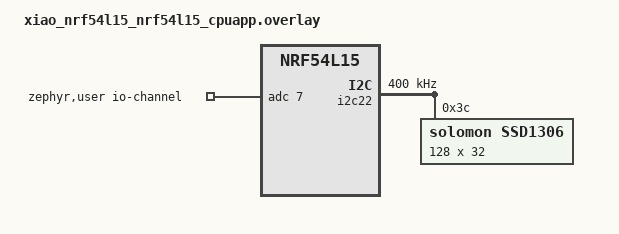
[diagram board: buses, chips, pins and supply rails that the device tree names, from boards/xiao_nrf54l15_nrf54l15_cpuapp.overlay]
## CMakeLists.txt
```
# PitchComm field-unit firmware.
# nRF Connect SDK (Zephyr) application for the Seeed XIAO nRF54L15.
#
# Use tools/build_firmware.ps1 for roster-derived role configuration, unit
# defines, display overlays and image-size checks. See firmware/README.md.

cmake_minimum_required(VERSION 3.20.0)

find_package(Zephyr REQUIRED HINTS $ENV{ZEPHYR_BASE})
project(pitchcomm)

target_include_directories(app PRIVATE include)

target_sources(app PRIVATE
  src/main.cpp
  src/thread_link.c
)

zephyr_sources_ifdef(CONFIG_PITCHCOMM_AUDIO
  src/audio_source.c
  src/storage.c
)

zephyr_sources_ifdef(CONFIG_PITCHCOMM_DISPLAY
  src/display.cpp
)

zephyr_sources_ifdef(CONFIG_PITCHCOMM_FIELD_BUTTON
  src/buttons.cpp
)

zephyr_sources_ifdef(CONFIG_PITCHCOMM_CATCHER_MENU
  src/buttons.cpp
)

zephyr_sources_ifdef(CONFIG_PITCHCOMM_BATTERY
  src/battery.cpp
)
```

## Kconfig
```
# PitchComm firmware application Kconfig.
# Role is selected per build; the build script passes the matching fragment.

mainmenu "PitchComm firmware"

choice PITCHCOMM_ROLE
	prompt "Unit role"
	default PITCHCOMM_ROLE_COACH
	help
	  Selects which unit this image is built for.

config PITCHCOMM_ROLE_COACH
	bool "Coach console"

config PITCHCOMM_ROLE_CATCHER
	bool "Catcher"

config PITCHCOMM_ROLE_PITCHER
	bool "Pitcher"

config PITCHCOMM_ROLE_SHORTSTOP
	bool "Shortstop"

config PITCHCOMM_ROLE_CENTERFIELD
	bool "Center field"

endchoice

# Field builds set PITCHCOMM_AUDIO, PITCHCOMM_DISPLAY, PITCHCOMM_CATCHER_MENU,
# PITCHCOMM_FIELD_BUTTON and PITCHCOMM_BATTERY explicitly from the generated
# unit conf (firmware/build/unit-confs/<key>.conf). The role choice above
# remains for the coach build.
config PITCHCOMM_AUDIO
	bool "LE Audio earbud output"
	default y if PITCHCOMM_ROLE_PITCHER

config PITCHCOMM_DISPLAY
	bool "128x32 OLED output"
	default y if PITCHCOMM_ROLE_CATCHER || PITCHCOMM_ROLE_SHORTSTOP || \
		     PITCHCOMM_ROLE_CENTERFIELD

config PITCHCOMM_CATCHER_MENU
	bool "Catcher five-button pitch menu"
	default y if PITCHCOMM_ROLE_CATCHER

config PITCHCOMM_CONSOLE
	bool "Line console over the debugger UART"
	default y

config PITCHCOMM_BATTERY
	bool "Internal VBAT sense"
	default y if PITCHCOMM_ROLE_CATCHER || PITCHCOMM_ROLE_PITCHER || \
		     PITCHCOMM_ROLE_SHORTSTOP || PITCHCOMM_ROLE_CENTERFIELD

config PITCHCOMM_FIELD_BUTTON
	bool "Pitcher / fielder recall button"
	default y if PITCHCOMM_ROLE_PITCHER || PITCHCOMM_ROLE_SHORTSTOP || \
		     PITCHCOMM_ROLE_CENTERFIELD

source "Kconfig.zephyr"
```

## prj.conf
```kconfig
# PitchComm firmware - baseline project config.
# Unit capability options are generated per build; shared fragments live in roles/; board options in boards/.

CONFIG_CPP=y
CONFIG_STD_CPP17=y

# 1 ms kernel ticks: the call engine cadence is milliseconds.
CONFIG_SYS_CLOCK_TICKS_PER_SEC=1000

# Console over the XIAO debugger UART at 115200.
CONFIG_LOG=y
CONFIG_PRINTK=y
CONFIG_SERIAL=y
CONFIG_CONSOLE=y
CONFIG_UART_CONSOLE=y
CONFIG_CONSOLE_SUBSYS=y
# VERIFY(console): console_getline() needs the optional CONSOLE_GETLINE choice;
# CONFIG_CONSOLE_SUBSYS alone leaves both getchar/getline unselected.
CONFIG_CONSOLE_GETLINE=y
CONFIG_SHELL=n

CONFIG_GPIO=y

# Factory device identity for the unprovisioned "eui" command.
# VERIFY(hwinfo): CONFIG_HWINFO=y selects CONFIG_HWINFO_NRF on the nRF54L15
# (hwinfo_nrf.c, NRF_FICR_HAS_INFO_DEVICE_ID path in NCS v3.4.0).
CONFIG_HWINFO=y

CONFIG_MAIN_STACK_SIZE=4096
CONFIG_HEAP_MEM_POOL_SIZE=32768

CONFIG_ASSERT=y
CONFIG_THREAD_NAME=y
```

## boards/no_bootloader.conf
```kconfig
# PitchComm no-MCUboot fallback config.
#
# Pass together with boards/no_bootloader.overlay and
# -DSB_CONFIG_BOOTLOADER_MCUBOOT=n; use tools/build_firmware.ps1 -NoBootloader.
#
# A normal build gets CONFIG_USE_DT_CODE_PARTITION=y through
# CONFIG_BOOTLOADER_MCUBOOT (select USE_DT_CODE_PARTITION if
# !MCUBOOT_BOOTLOADER_MODE_RAM_LOAD, modules/Kconfig.mcuboot in NCS v3.4.0).
# With MCUboot off nothing selects it, and with the board's
# zephyr,mapped-partition nodes the linker then has no code-partition region
# at all (CONFIG_FLASH_USES_MAPPED_PARTITION stays off, so
# FLASH_LOAD_OFFSET/FLASH_LOAD_SIZE do not exist): the image would link from
# 0x0 over the full 1524 KB RRAM and overlap its own LittleFS and settings
# partitions. Keep this line.
#
# VERIFY(no-bootloader): required by source inspection; not yet exercised by a
# build. Confirm CONFIG_USE_DT_CODE_PARTITION=y and
# CONFIG_FLASH_USES_MAPPED_PARTITION=y in .config.
CONFIG_USE_DT_CODE_PARTITION=y
```

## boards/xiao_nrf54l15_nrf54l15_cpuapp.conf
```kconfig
# XIAO nRF54L15 board options shared by every role.
# LE Audio Kconfig lives in roles/audio-unit.conf so non-audio roles do not
# compile the Bluetooth host.

CONFIG_FPU=y
CONFIG_SYSTEM_WORKQUEUE_STACK_SIZE=4096
```

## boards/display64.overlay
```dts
/*
 * PitchComm fielder watch: 128x64 SSD1306 overlay (target
 * xiao_nrf54l15/nrf54l15/cpuapp).
 *
 * Applied on top of boards/xiao_nrf54l15_nrf54l15_cpuapp.overlay for units
 * whose config/roster.json entry has display64 true. It overrides only the
 * panel geometry and the COM pin layout of the ssd1306@3c node; width,
 * address, bus, pull-ups, segment remap, scan direction, offsets, precharge
 * and the zephyr,display choice stay exactly as the base overlay set them.
 *
 * The common 128x64 module uses the alternative COM pin layout
 * (SSD1306_SET_PADS_HW_ALTERNATIVE, 0x12), while the 128x32 catcher panel
 * uses sequential COM pins (0x02). The base overlay sets com-sequential for
 * the 32-row panel, so this overlay deletes it; the Zephyr driver then writes
 * 0x12 (drivers/display/ssd1306.c: com-sequential selects SEQUENTIAL,
 * otherwise ALTERNATIVE).
 */

&ssd1306 {
	height = <64>;
	multiplex-ratio = <0x3f>; /* 64 rows - 1 */
	/delete-property/ com-sequential;
};
```

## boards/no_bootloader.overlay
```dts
/*
 * PitchComm no-MCUboot fallback partition layout (target
 * xiao_nrf54l15/nrf54l15/cpuapp).
 *
 * Use only with a sysbuild that disables MCUboot:
 *   west build -b xiao_nrf54l15/nrf54l15/cpuapp firmware -d firmware/build/<role>-nb -- \
 *     -DSB_CONFIG_BOOTLOADER_MCUBOOT=n \
 *     -DEXTRA_DTC_OVERLAY_FILE=boards/no_bootloader.overlay \
 *     -DEXTRA_CONF_FILE="<role fragments>;boards/no_bootloader.conf"
 *
 * Layout (nRF54L15 RRAM is 1524 KB total):
 *   slot0_partition    0x000000   776 KB   application (was mcuboot 62 KB + slot0 712 KB)
 *   slot1_partition    0x0C2000   712 KB   LittleFS audio clips
 *   storage_partition  0x174000    36 KB   settings + Bluetooth bonds
 *
 * slot1_partition and storage_partition keep their stock MCUboot offsets
 * (see dts/vendor/nordic/nrf54l15_cpuapp_partition.dtsi in NCS v3.4.0), so a
 * previously written audio image and saved bonds stay where the firmware
 * expects them.
 *
 * VERIFY(no-bootloader): untested, nothing here has seen a compiler. Confirm:
 *   - the overlay merges (old boot_partition and slot0_partition deleted, the
 *     new slot0 at 0x0 does not overlap slot1 or storage);
 *   - the image links at 0x0 with a 794624-byte limit; CONFIG_USE_DT_CODE_PARTITION=y
 *     in boards/no_bootloader.conf makes the linker use this partition
 *     (CONFIG_FLASH_USES_MAPPED_PARTITION; the cortex_m linker.ld takes
 *     ROM address/size from the chosen partition);
 *   - the map shows no section past 0x0C2000;
 *   - LittleFS still mounts slot1 and settings still mounts storage.
 */

/delete-node/ &boot_partition;
/delete-node/ &slot0_partition;

&cpuapp_rram {
	partitions {
		slot0_partition: partition@0 {
			compatible = "zephyr,mapped-partition";
			label = "image-0";
			reg = <0x0 DT_SIZE_K(776)>;
		};
	};
};
```

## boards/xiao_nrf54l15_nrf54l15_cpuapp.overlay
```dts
/*
 * XIAO nRF54L15 devicetree overlay (target xiao_nrf54l15/nrf54l15/cpuapp).
 *
 * Adds the parts the board DTS leaves to the application:
 *
 *   - the 128x32 SSD1306 OLED on i2c22 (SDA = P1.10 / D4, SCL = P1.11 / D5),
 *     used by the catcher / shortstop / center-field roles;
 *   - the internal VBAT sense channel (AIN7 = P1.14, through the P1.15
 *     load-switched divider).
 *
 * Nothing already present in the board DTS is removed or redefined. The board
 * file already enables i2c22, the adc node and the vbat_pwr regulator
 * (P1.15, active high). The console (uart20) and the 802.15.4 node
 * (chosen zephyr,ieee802154) are deliberately untouched.
 *
 * Required Kconfig for a role that uses the panel (belongs in the role
 * fragments, not here): CONFIG_DISPLAY=y and CONFIG_SSD1306=y.
 */

/ {
	chosen {
		/* Binds the in-tree SSD1306 display driver to this node. */
		zephyr,display = &ssd1306;
	};

	zephyr,user {
		/* io-channel index 7 = AIN7 = P1.14. Read by board::Battery. */
		io-channels = <&adc 7>;
	};
};

&i2c22 {
	status = "okay";
	/* The OLED module carries its own 4.7k pull-ups and 400 kHz is safe at
	 * 3.3 V (docs/wiring.md); the default would be 100 kHz. */
	clock-frequency = <400000>;

	ssd1306: ssd1306@3c {
		compatible = "solomon,ssd1306";
		reg = <0x3c>;
		status = "okay";
		width = <128>;
		height = <32>;
		segment-remap;
		com-invdir;
		com-sequential;
		/* VERIFY: the upstream solomon,ssd1306-common.yaml marks
		 * segment-offset, page-offset, display-offset, multiplex-ratio
		 * and prechargep as required; the values are the documented
		 * 128x32 SSD1306 defaults. */
		segment-offset = <0>;
		page-offset = <0>;
		display-offset = <0>;
		multiplex-ratio = <0x1f>; /* 32 rows - 1 */
		prechargep = <0xf1>;
	};
};
```

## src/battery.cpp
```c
/*
 * PitchComm battery sense for the XIAO nRF54L15 (Zephyr / NCS).
 *
 * The board senses VBAT internally on AIN7 = P1.14 through a load-switched
 * divider enabled by P1.15 (active high). docs/wiring.md keeps the load
 * switch on, so begin() raises it and never turns it back off.
 *
 * nRF54L15 SAADC: the internal reference is 900 mV, so with gain 1/4 the
 * full-scale pin input is 3600 mV. The board halves VBAT before the pin:
 *
 *   millivolts = raw * vref / (1/4) * 2 / 4096
 *              = raw * vref * 8 / 4096
 *
 * With the expected vref = 900 mV that gives
 * raw * 3600 / 4096 * 2, clamped to 6000. Eight samples are summed and
 * averaged in one integer division.
 * VERIFY: adc_ref_internal() must report 900 on the nRF54L15 SAADC; the
 * fallback keeps the previous behaviour if a driver reports 0.
 */

#include "board/battery.h"

#if defined(CONFIG_PITCHCOMM_BATTERY)

#if !defined(CONFIG_ADC)
#error "PitchComm battery: CONFIG_ADC=y is required for the nRF SAADC driver."
#endif

#include <cstdint>

#include <zephyr/device.h>
#include <zephyr/drivers/adc.h>
#include <zephyr/drivers/gpio.h>
#include <zephyr/kernel.h>
#include <zephyr/sys/util.h>

#if defined(CONFIG_ADC_CONFIGURABLE_INPUTS)
#include <zephyr/dt-bindings/adc/nrf-saadc.h>
#endif

namespace board {
namespace {

/* P1.15 enables the internal VBAT divider load switch (active high). */
constexpr uint8_t kDividerEnablePin = 15;

/* AIN7 = P1.14, through the internal divider (scale x2). */
const struct adc_dt_spec gVbat = ADC_DT_SPEC_GET(DT_PATH(zephyr_user));
const struct device* const gGpio1 = DEVICE_DT_GET(DT_NODELABEL(gpio1));

constexpr uint32_t kSampleIntervalMs = 500;
constexpr uint32_t kSamples = 8;
constexpr uint32_t kFallbackVrefMv = 900; /* VERIFY: nRF54L15 internal ref */
constexpr uint32_t kMaxMillivolts = 6000;

bool gAdcReady = false;
bool gDividerOn = false;

inline uint32_t elapsed(uint32_t now, uint32_t then) { return now - then; }

void enableDivider() {
  if (gDividerOn || !device_is_ready(gGpio1)) {
    return;
  }
  /* VERIFY: P1.15 is active high and is also claimed by the board's
   * vbat_pwr regulator (regulator-boot-on), so this is normally a no-op.
   * It is intentionally never disabled. */
  if (gpio_pin_configure(gGpio1, kDividerEnablePin, GPIO_OUTPUT_ACTIVE) == 0) {
    gpio_pin_set(gGpio1, kDividerEnablePin, 1);
    gDividerOn = true;
  }
}

}  // namespace

void Battery::begin() {
  enableDivider();
  if (!adc_is_ready_dt(&gVbat)) {
    return;
  }
  struct adc_channel_cfg cfg{};
  cfg.gain = ADC_GAIN_1_4;
  cfg.reference = ADC_REF_INTERNAL;
  cfg.acquisition_time = ADC_ACQ_TIME_DEFAULT;
  cfg.channel_id = gVbat.channel_id;
  cfg.differential = 0;
#if defined(CONFIG_ADC_CONFIGURABLE_INPUTS)
  /* VERIFY: the nRF SAADC driver selects ADC_CONFIGURABLE_INPUTS, so the
   * physical input must be named explicitly; AIN7 is P1.14. */
  cfg.input_positive = NRF_SAADC_AIN7;
#endif
  if (adc_channel_setup(gVbat.dev, &cfg) != 0) {
    return;
  }
  gAdcReady = true;
}

void Battery::tick(uint32_t now) {
  if (!gAdcReady) {
    return;
  }
  if (sampled_ && elapsed(now, sampledAt_) < kSampleIntervalMs) {
    return;
  }

  int32_t sum = 0;
  for (uint32_t i = 0; i < kSamples; ++i) {
    int16_t raw = 0;
    struct adc_sequence sequence{};
    sequence.channels = BIT(gVbat.channel_id);
    sequence.buffer = &raw;
    sequence.buffer_size = sizeof(raw);
    sequence.resolution = 12;
    if (adc_read_dt(&gVbat, &sequence) != 0) {
      return; /* keep the previous reading */
    }
    if (raw < 0) {
      raw = 0; /* single-ended readings cannot be negative */
    }
    sum += raw;
  }

  uint32_t vrefMv = adc_ref_internal(gVbat.dev);
  if (vrefMv == 0) {
    vrefMv = kFallbackVrefMv;
  }

  /* Per sample: raw * vref / (gain = 1/4) / 4096, then x2 for the divider.
   * Averaged over 8 samples: (sum/8) * vref * 8 / 4096 = sum * vref / 4096. */
  uint32_t millivolts = static_cast<uint32_t>(sum) * vrefMv / 4096u;
  if (millivolts > kMaxMillivolts) {
    millivolts = kMaxMillivolts;
  }
  millivolts_ = millivolts;
  sampledAt_ = now;
  sampled_ = true;
}

uint32_t Battery::millivolts() const { return millivolts_; }

/* A cell in this window is low but still powers the rail. */
bool Battery::low() const { return millivolts_ >= 2800 && millivolts_ < 3500; }

/* Battery window in which the LE Audio rail is trusted to stay up. */
bool Battery::audioPower() const {
  return millivolts_ >= 3100 && millivolts_ <= 4400;
}

} // namespace board

#endif /* CONFIG_PITCHCOMM_BATTERY */
```

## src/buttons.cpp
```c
/*
 * PitchComm buttons for the XIAO nRF54L15 (Zephyr / NCS).
 *
 * Field button: one active-low recall button on D1 = P1.05 with an internal
 * pull-up. 30 ms debounce, 700 ms long press. Released reads raw 1;
 * pressed (pin to GND) reads raw 0.
 *
 * Catcher keypad: four numbered calls on D0..D3 = P1.04..P1.07 plus Back on
 * D13 = P2.10, all pin-to-GND with internal pull-ups. Events are filtered by
 * the shared pc::CatcherButtons model (35 ms startup/release block, chord
 * rejection, event numbers 1..4 on a numbered release, 5 on a Back short
 * release and 6 on a Back long hold).
 */

#include "board/buttons.h"

#if defined(CONFIG_PITCHCOMM_FIELD_BUTTON) || defined(CONFIG_PITCHCOMM_CATCHER_MENU)

#include <cstdint>

#include <zephyr/device.h>
#include <zephyr/drivers/gpio.h>

#if defined(CONFIG_PITCHCOMM_CATCHER_MENU)
#include "pc/newcatcher_menu.h"
#endif

namespace board {
namespace {

const struct device* const gGpio1 = DEVICE_DT_GET(DT_NODELABEL(gpio1));

inline uint32_t elapsed(uint32_t now, uint32_t then) { return now - then; }

}  // namespace

#if defined(CONFIG_PITCHCOMM_FIELD_BUTTON)

namespace {

/* Pitcher / fielder recall: D1 = P1.05, pin to GND. */
constexpr uint8_t kFieldButtonPin = 5;

bool gButtonReady = false;
bool gRawDown = false;
bool gHeld = false;
bool gLongReported = false;
uint32_t gChanged = 0;
uint32_t gPressedAt = 0;

}  // namespace

void Button::begin() {
  gButtonReady = false;
  gRawDown = false;
  gHeld = false;
  gLongReported = false;
  gChanged = 0;
  gPressedAt = 0;
  if (!device_is_ready(gGpio1)) {
    return;
  }
  if (gpio_pin_configure(gGpio1, kFieldButtonPin,
                         GPIO_INPUT | GPIO_PULL_UP) != 0) {
    return;
  }
  gButtonReady = true;
}

Button::Event Button::tick(uint32_t now) {
  if (!gButtonReady) {
    return Event::None;
  }
  const bool down = gpio_pin_get_raw(gGpio1, kFieldButtonPin) == 0;
  if (down != gRawDown) {
    gRawDown = down;
    gChanged = now;
  }
  if (gRawDown != gHeld && elapsed(now, gChanged) >= 30) {
    gHeld = gRawDown;
    if (gHeld) {
      gPressedAt = now;
      gLongReported = false;
    } else if (!gLongReported) {
      return Event::Press;
    }
  }
  if (gHeld && !gLongReported && elapsed(now, gPressedAt) >= 700) {
    gLongReported = true;
    return Event::LongPress;
  }
  return Event::None;
}

#endif /* CONFIG_PITCHCOMM_FIELD_BUTTON */

#if defined(CONFIG_PITCHCOMM_CATCHER_MENU)

namespace {

const struct device* const gGpio2 = DEVICE_DT_GET(DT_NODELABEL(gpio2));

/* Catcher keypad: D0..D3 = P1.04..P1.07 (calls 1..4), D13 = P2.10 (Back). */
constexpr uint8_t kCallPins[4] = {4, 5, 6, 7};
constexpr uint8_t kBackPin = 10;

pc::CatcherButtons gFilter;
uint32_t gScanAt = 0;

}  // namespace

bool CatcherControls::begin() {
  present_ = false;
  if (!device_is_ready(gGpio1) || !device_is_ready(gGpio2)) {
    return false;
  }
  bool ok = true;
  for (uint8_t pin : kCallPins) {
    if (gpio_pin_configure(gGpio1, pin, GPIO_INPUT | GPIO_PULL_UP) != 0) {
      ok = false;
    }
  }
  if (gpio_pin_configure(gGpio2, kBackPin, GPIO_INPUT | GPIO_PULL_UP) != 0) {
    ok = false;
  }
  present_ = ok;
  return ok;
}

bool CatcherControls::available() const { return present_; }

unsigned CatcherControls::tick(uint32_t now) {
  if (!present_) {
    return 0;
  }
  if (elapsed(now, gScanAt) < 10) {
    return 0;
  }
  gScanAt = now;

  uint8_t mask = 0;
  for (uint8_t i = 0; i < 4; ++i) {
    if (gpio_pin_get_raw(gGpio1, kCallPins[i]) == 0) {
      mask |= static_cast<uint8_t>(1u << i);
    }
  }
  if (gpio_pin_get_raw(gGpio2, kBackPin) == 0) {
    mask |= 0x10;
  }
  return gFilter.tick(mask, true, now);
}

#endif /* CONFIG_PITCHCOMM_CATCHER_MENU */

} // namespace board

#endif /* CONFIG_PITCHCOMM_FIELD_BUTTON || CONFIG_PITCHCOMM_CATCHER_MENU */
```

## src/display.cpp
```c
/*
 * PitchComm - SSD1306 OLED for the XIAO nRF54L15 (Zephyr / NCS).
 *
 * The panel is the 128x32 0.91" catcher module or the 128x64 fielder watch
 * module at address 0x3C on i2c22 (SDA = P1.10 / D4, SCL = P1.11 / D5), see
 * docs/wiring.md. The board overlay selects the geometry: the base overlay is
 * 128x32 and boards/display64.overlay raises a watch unit to 128x64.
 *
 * Primary backend: the in-tree Zephyr SSD1306 display driver
 * (compatible = "solomon,ssd1306", CONFIG_SSD1306). Fallback backend: raw
 * I2C page writes, used only if CONFIG_SSD1306 is not enabled.
 *
 * Rendering goes into a page-major frame buffer (kWidth * kHeight / 8 bytes:
 * 512 for a 32-row panel, 1024 for a 64-row panel; bit 0 of each byte is the
 * top row of its 8-pixel page, matching SCREEN_INFO_MONO_VTILED), then the
 * whole frame is pushed in one pass.
 *
 * Timeouts: Zephyr's synchronous I2C and display APIs take no per-transfer
 * timeout argument. The full-frame transfer below is a bounded, single
 * transaction series: no retries and no bus recovery loops are performed
 * here, and the SSD1306 driver itself only issues direct i2c_write_dt()
 * calls (it also returns on the first error).
 *
 * Threading: the application UI thread owns display operations. One static
 * mutex also serializes begin/menu/strip/probe/wake/sleep and the frame buffer.
 * The engine only queues display requests; it never takes this panel lock.
 * Public calls wait at most
 * 50 ms for the panel and report failure on timeout; the mutex is never
 * taken recursively.
 */

#include "board/display.h"

#if defined(CONFIG_PITCHCOMM_DISPLAY)

#if !defined(CONFIG_SSD1306) && !defined(CONFIG_I2C)
#error "PitchComm display: enable CONFIG_DISPLAY=y and CONFIG_SSD1306=y (or CONFIG_I2C=y for the raw fallback)."
#endif

#include <cstring>

#include <zephyr/device.h>
#include <zephyr/drivers/display.h>
#include <zephyr/drivers/i2c.h>
#include <zephyr/kernel.h>
#include <zephyr/sys/util.h>

namespace board {
namespace {

/* Panel geometry comes from the overlay: the base ssd1306 node is 128x32 and
 * boards/display64.overlay raises it to 128x64 for a fielder watch. */
constexpr uint16_t kWidth = DT_PROP(DT_NODELABEL(ssd1306), width);
constexpr uint16_t kHeight = DT_PROP(DT_NODELABEL(ssd1306), height);
constexpr uint16_t kFrameBytes = kWidth * kHeight / 8; /* 512 or 1024 bytes */

/* Both text layouts are authored for a 32-row panel; a 64-row panel centers
 * the same content in the middle instead of the top. */
constexpr uint16_t kLayoutOffset = (kHeight - 32) / 2;

constexpr uint8_t kGlyphColumns = 5;
constexpr uint8_t kGlyphRows = 7;
constexpr uint8_t kGlyphAdvance = 6;    /* 5x7 cell + 1 blank column, 1x text */
constexpr uint8_t kLabelAdvance = 12;   /* 2x text uses 12 px cells */
constexpr uint8_t kLabelAdvance11 = 11; /* 11-char labels use an 11 px advance */

/* The panel address is fixed by the overlay: ssd1306@3c. */
static_assert(DT_REG_ADDR(DT_NODELABEL(ssd1306)) == 0x3c,
              "PitchComm display must be the SSD1306 at I2C address 0x3C");

/*
 * 5x7 ASCII glyphs, one byte per column, bit 0 = top row (the classic
 * Adafruit GFX 5x7 layout). Data ported from the Adafruit GFX glcdfont.c
 * font (Copyright (c) 2012 Adafruit Industries, BSD license,
 * https://github.com/adafruit/Adafruit-GFX-Library/blob/master/license.txt).
 * Only the printable range 0x20..0x7E (95 glyphs) is kept here.
 */
const uint8_t kFont[95][kGlyphColumns] = {
  {0x00,0x00,0x00,0x00,0x00}, /* ' ' */
  {0x00,0x00,0x5f,0x00,0x00}, /* '!' */
  {0x00,0x07,0x00,0x07,0x00}, /* '"' */
  {0x14,0x7f,0x14,0x7f,0x14}, /* '#' */
  {0x24,0x2a,0x7f,0x2a,0x12}, /* '$' */
  {0x23,0x13,0x08,0x64,0x62}, /* '%' */
  {0x36,0x49,0x56,0x20,0x50}, /* '&' */
  {0x00,0x08,0x07,0x03,0x00}, /* '\'' */
  {0x00,0x1c,0x22,0x41,0x00}, /* '(' */
  {0x00,0x41,0x22,0x1c,0x00}, /* ')' */
  {0x2a,0x1c,0x7f,0x1c,0x2a}, /* '*' */
  {0x08,0x08,0x3e,0x08,0x08}, /* '+' */
  {0x00,0x80,0x70,0x30,0x00}, /* ',' */
  {0x08,0x08,0x08,0x08,0x08}, /* '-' */
  {0x00,0x00,0x60,0x60,0x00}, /* '.' */
  {0x20,0x10,0x08,0x04,0x02}, /* '/' */
  {0x3e,0x51,0x49,0x45,0x3e}, /* '0' */
  {0x00,0x42,0x7f,0x40,0x00}, /* '1' */
  {0x72,0x49,0x49,0x49,0x46}, /* '2' */
  {0x21,0x41,0x49,0x4d,0x33}, /* '3' */
  {0x18,0x14,0x12,0x7f,0x10}, /* '4' */
  {0x27,0x45,0x45,0x45,0x39}, /* '5' */
  {0x3c,0x4a,0x49,0x49,0x31}, /* '6' */
  {0x41,0x21,0x11,0x09,0x07}, /* '7' */
  {0x36,0x49,0x49,0x49,0x36}, /* '8' */
  {0x46,0x49,0x49,0x29,0x1e}, /* '9' */
  {0x00,0x00,0x14,0x00,0x00}, /* ':' */
  {0x00,0x40,0x34,0x00,0x00}, /* ';' */
  {0x00,0x08,0x14,0x22,0x41}, /* '<' */
  {0x14,0x14,0x14,0x14,0x14}, /* '=' */
  {0x00,0x41,0x22,0x14,0x08}, /* '>' */
  {0x02,0x01,0x59,0x09,0x06}, /* '?' */
  {0x3e,0x41,0x5d,0x59,0x4e}, /* '@' */
  {0x7c,0x12,0x11,0x12,0x7c}, /* 'A' */
  {0x7f,0x49,0x49,0x49,0x36}, /* 'B' */
  {0x3e,0x41,0x41,0x41,0x22}, /* 'C' */
  {0x7f,0x41,0x41,0x41,0x3e}, /* 'D' */
  {0x7f,0x49,0x49,0x49,0x41}, /* 'E' */
  {0x7f,0x09,0x09,0x09,0x01}, /* 'F' */
  {0x3e,0x41,0x41,0x51,0x73}, /* 'G' */
  {0x7f,0x08,0x08,0x08,0x7f}, /* 'H' */
  {0x00,0x41,0x7f,0x41,0x00}, /* 'I' */
  {0x20,0x40,0x41,0x3f,0x01}, /* 'J' */
  {0x7f,0x08,0x14,0x22,0x41}, /* 'K' */
  {0x7f,0x40,0x40,0x40,0x40}, /* 'L' */
  {0x7f,0x02,0x1c,0x02,0x7f}, /* 'M' */
  {0x7f,0x04,0x08,0x10,0x7f}, /* 'N' */
  {0x3e,0x41,0x41,0x41,0x3e}, /* 'O' */
  {0x7f,0x09,0x09,0x09,0x06}, /* 'P' */
  {0x3e,0x41,0x51,0x21,0x5e}, /* 'Q' */
  {0x7f,0x09,0x19,0x29,0x46}, /* 'R' */
  {0x26,0x49,0x49,0x49,0x32}, /* 'S' */
  {0x03,0x01,0x7f,0x01,0x03}, /* 'T' */
  {0x3f,0x40,0x40,0x40,0x3f}, /* 'U' */
  {0x1f,0x20,0x40,0x20,0x1f}, /* 'V' */
  {0x3f,0x40,0x38,0x40,0x3f}, /* 'W' */
  {0x63,0x14,0x08,0x14,0x63}, /* 'X' */
  {0x03,0x04,0x78,0x04,0x03}, /* 'Y' */
  {0x61,0x59,0x49,0x4d,0x43}, /* 'Z' */
  {0x00,0x7f,0x41,0x41,0x41}, /* '[' */
  {0x02,0x04,0x08,0x10,0x20}, /* '\\' */
  {0x00,0x41,0x41,0x41,0x7f}, /* ']' */
  {0x04,0x02,0x01,0x02,0x04}, /* '^' */
  {0x40,0x40,0x40,0x40,0x40}, /* '_' */
  {0x00,0x03,0x07,0x08,0x00}, /* '`' */
  {0x20,0x54,0x54,0x78,0x40}, /* 'a' */
  {0x7f,0x28,0x44,0x44,0x38}, /* 'b' */
  {0x38,0x44,0x44,0x44,0x28}, /* 'c' */
  {0x38,0x44,0x44,0x28,0x7f}, /* 'd' */
  {0x38,0x54,0x54,0x54,0x18}, /* 'e' */
  {0x00,0x08,0x7e,0x09,0x02}, /* 'f' */
  {0x18,0xa4,0xa4,0x9c,0x78}, /* 'g' */
  {0x7f,0x08,0x04,0x04,0x78}, /* 'h' */
  {0x00,0x44,0x7d,0x40,0x00}, /* 'i' */
  {0x20,0x40,0x40,0x3d,0x00}, /* 'j' */
  {0x7f,0x10,0x28,0x44,0x00}, /* 'k' */
  {0x00,0x41,0x7f,0x40,0x00}, /* 'l' */
  {0x7c,0x04,0x78,0x04,0x78}, /* 'm' */
  {0x7c,0x08,0x04,0x04,0x78}, /* 'n' */
  {0x38,0x44,0x44,0x44,0x38}, /* 'o' */
  {0xfc,0x18,0x24,0x24,0x18}, /* 'p' */
  {0x18,0x24,0x24,0x18,0xfc}, /* 'q' */
  {0x7c,0x08,0x04,0x04,0x08}, /* 'r' */
  {0x48,0x54,0x54,0x54,0x24}, /* 's' */
  {0x04,0x04,0x3f,0x44,0x24}, /* 't' */
  {0x3c,0x40,0x40,0x20,0x7c}, /* 'u' */
  {0x1c,0x20,0x40,0x20,0x1c}, /* 'v' */
  {0x3c,0x40,0x30,0x40,0x3c}, /* 'w' */
  {0x44,0x28,0x10,0x28,0x44}, /* 'x' */
  {0x4c,0x90,0x90,0x90,0x7c}, /* 'y' */
  {0x44,0x64,0x54,0x4c,0x44}, /* 'z' */
  {0x00,0x08,0x36,0x41,0x00}, /* '{' */
  {0x00,0x00,0x77,0x00,0x00}, /* '|' */
  {0x00,0x41,0x36,0x08,0x00}, /* '}' */
  {0x02,0x01,0x02,0x04,0x02}, /* '~' */
};

uint8_t gFrame[kFrameBytes];

inline void setPixel(uint16_t x, uint16_t y) {
  if (x >= kWidth || y >= kHeight) {
    return;
  }
  gFrame[(y / 8) * kWidth + x] |= static_cast<uint8_t>(1u << (y % 8));
}

void clearFrame() { std::memset(gFrame, 0, sizeof(gFrame)); }

void drawGlyph(uint16_t x, uint16_t y, char c, uint8_t scale) {
  if (c < 0x20 || c > 0x7e) {
    c = '?';
  }
  const uint8_t* glyph = kFont[static_cast<uint8_t>(c) - 0x20];
  for (uint8_t column = 0; column < kGlyphColumns; ++column) {
    const uint8_t bits = glyph[column];
    for (uint8_t row = 0; row < kGlyphRows; ++row) {
      if ((bits & (1u << row)) == 0) {
        continue;
      }
      if (scale == 2) {
        const uint16_t px = x + column * 2;
        const uint16_t py = y + row * 2;
        setPixel(px, py);
        setPixel(px + 1, py);
        setPixel(px, py + 1);
        setPixel(px + 1, py + 1);
      } else {
        setPixel(x + column, y + row);
      }
    }
  }
}

void drawText(uint16_t x, uint16_t y, const char* text, uint8_t scale,
              uint8_t advance) {
  if (text == nullptr) {
    return;
  }
  const uint16_t glyphWidth = (scale == 2) ? kGlyphColumns * 2 : kGlyphColumns;
  for (; *text != '\0'; ++text) {
    if (x + glyphWidth > kWidth) {
      break; /* clip at the right edge; callers keep the text in range */
    }
    drawGlyph(x, y, *text, scale);
    x += advance;
  }
}

const struct i2c_dt_spec gPanelI2c = I2C_DT_SPEC_GET(DT_NODELABEL(ssd1306));

/*
 * Serializes all panel traffic and the shared frame buffer. The application
 * routes calls and console diagnostics to the same UI owner.
 * One full frame is about 13 ms of bus time at the configured 400 kHz, so a
 * 50 ms wait is enough for the current holder to finish.
 */
K_MUTEX_DEFINE(gLock);

/* RAII helper so every early return releases the panel mutex. */
struct Guard {
  explicit Guard(k_timeout_t timeout)
      : held(k_mutex_lock(&gLock, timeout) == 0) {}
  ~Guard() {
    if (held) {
      k_mutex_unlock(&gLock);
    }
  }
  bool held;
};

/*
 * One-byte bus probe: SSD1306 panels are write-only on I2C. A one-byte write
 * of the command-stream control byte (Co = 0, D/C# = 0) is ACKed by a present
 * panel and NACKed when it is absent or unpowered. The address argument lets
 * the console `scan` diagnostic walk other addresses on the same bus.
 * Callers hold gLock; probeBus itself never takes it.
 */
bool probeBus(uint8_t address) {
  struct i2c_dt_spec spec = gPanelI2c;
  spec.addr = address;
  uint8_t control = 0x00;
  return i2c_write_dt(&spec, &control, 1) == 0;
}

#if defined(CONFIG_SSD1306)

const struct device* const gPanel = DEVICE_DT_GET(DT_NODELABEL(ssd1306));

bool panelOn() { return display_blanking_off(gPanel) == 0; }
bool panelOff() { return display_blanking_on(gPanel) == 0; }

bool flush() {
  struct display_buffer_descriptor desc{};
  desc.buf_size = sizeof(gFrame);
  desc.width = kWidth;
  desc.height = kHeight;
  desc.pitch = kWidth; /* the SSD1306 driver requires pitch == width */
  desc.frame_incomplete = false;
  /* The driver requires y and height to be page-aligned; a full frame is. */
  return display_write(gPanel, 0, 0, &desc, gFrame) == 0;
}

#else /* Raw SSD1306 I2C fallback, only if the in-tree driver is unavailable. */

/* SSD1306 power-up sequence for the panel the overlay describes; values
 * follow the datasheet and the settings requested in the overlay (segment
 * remap, reversed COM scan, precharge 0xF1). */
bool rawInit() {
  /* The in-tree driver picks the COM pin layout from com-sequential: the
   * 128x32 panel uses sequential (0x02) and the standard 128x64 module uses
   * the alternative layout (0x12). board/display64.overlay deletes
   * com-sequential, so follow the height here. */
  constexpr uint8_t kComPins = (kHeight > 32) ? 0x12 : 0x02;
  static const uint8_t kInit[] = {
      0xae,             /* display off while configuring */
      0xd5, 0x80,       /* clock divide ratio / oscillator frequency */
      0xa8, static_cast<uint8_t>(kHeight - 1), /* multiplex ratio: rows - 1 */
      0xd3, 0x00,       /* display offset 0 */
      0x40,             /* display start line 0 */
      0x8d, 0x14,       /* charge pump enabled */
      0x20, 0x02,       /* page addressing mode */
      0xa1,             /* segment remap */
      0xc8,             /* COM output scan direction reversed */
      0xda, kComPins,   /* COM pins: 32-row sequential, 64-row alternative */
      0x81, 0x8f,       /* contrast */
      0xd9, 0xf1,       /* pre-charge period */
      0xdb, 0x40,       /* VCOMH deselect level */
      0xa4,             /* display follows GDDRAM */
      0xa6,             /* normal (not inverted) display */
      0xaf,             /* display on */
  };
  uint8_t buffer[1 + sizeof(kInit)];
  buffer[0] = 0x00; /* Co = 0, D/C# = 0: all following bytes are commands */
  std::memcpy(&buffer[1], kInit, sizeof(kInit));
  return i2c_write_dt(&gPanelI2c, buffer, sizeof(buffer)) == 0;
}

bool rawFlush() {
  uint8_t data[1 + kWidth];
  data[0] = 0x40; /* Co = 0, D/C# = 1: all following bytes are GDDRAM data */
  for (uint8_t page = 0; page < kHeight / 8; ++page) {
    const uint8_t position[4] = {
        0x00, static_cast<uint8_t>(0xb0 | page), 0x00, 0x10};
    if (i2c_write_dt(&gPanelI2c, position, sizeof(position)) != 0) {
      return false;
    }
    std::memcpy(&data[1], &gFrame[page * kWidth], kWidth);
    if (i2c_write_dt(&gPanelI2c, data, sizeof(data)) != 0) {
      return false;
    }
  }
  return true;
}

bool panelOn() {
  const uint8_t command[2] = {0x00, 0xaf}; /* display on */
  return i2c_write_dt(&gPanelI2c, command, sizeof(command)) == 0;
}

bool panelOff() {
  const uint8_t command[2] = {0x00, 0xae}; /* display off */
  return i2c_write_dt(&gPanelI2c, command, sizeof(command)) == 0;
}

bool flush() { return rawFlush(); }

#endif /* CONFIG_SSD1306 */

}  // namespace

bool Display::begin() {
  const Guard lock(K_MSEC(50));
  if (!lock.held) {
    return false;
  }
  if (ready_) {
    return true;
  }
  if (!probeBus(gPanelI2c.addr)) {
    return false;
  }
#if defined(CONFIG_SSD1306)
  if (!device_is_ready(gPanel)) {
    return false;
  }
  struct display_capabilities caps{};
  display_get_capabilities(gPanel, &caps);
  if (caps.x_resolution != kWidth || caps.y_resolution != kHeight) {
    return false; /* the overlay geometry must match what this build compiled */
  }
#else
  if (!rawInit()) {
    return false;
  }
#endif
  clearFrame();
  if (!flush()) {
    return false;
  }
  sleeping_ = false;
  ready_ = true;
  return true;
}

bool Display::probe(uint8_t address) {
  /* Works whether or not begin() has run: a disconnected panel must fail. */
  const Guard lock(K_MSEC(50));
  if (!lock.held) {
    return false; /* a transfer is in flight; report not found */
  }
  return probeBus(address);
}

bool Display::available() const {
  const Guard lock(K_MSEC(50));
  if (!lock.held) {
    return false; /* a display update is in flight; report unavailable */
  }
  return ready_;
}

void Display::wake() {
  const Guard lock(K_MSEC(50));
  if (!lock.held || !ready_) {
    return;
  }
  panelOn();
  sleeping_ = false;
}

void Display::sleep() {
  const Guard lock(K_MSEC(50));
  if (!lock.held || !ready_ || sleeping_) {
    return;
  }
  panelOff();
  sleeping_ = true;
}

bool Display::sleeping() const {
  const Guard lock(K_MSEC(50));
  if (!lock.held) {
    return false;
  }
  return sleeping_;
}

bool Display::menu(const pc::CatcherMenu::Frame& frame) {
  const Guard lock(K_MSEC(50));
  if (!lock.held || !ready_ || sleeping_) {
    return false;
  }
  clearFrame();
  drawText(0, kLayoutOffset, frame.header, 1, kGlyphAdvance);
  drawText(0, kLayoutOffset + 8, frame.footer, 1, kGlyphAdvance);
  // Four columns correspond directly to the physical left-to-right keys.
  for (unsigned i=0;i<4;++i) {
    char number[3]={char('1'+i),frame.selected==i+1 ? '>' : ' ',0};
    drawText(i*32+10,kLayoutOffset+16,number,1,kGlyphAdvance);
    const auto width=std::strlen(frame.keys[i])*kGlyphAdvance;
    drawText(i*32+(32-width)/2,kLayoutOffset+24,frame.keys[i],1,kGlyphAdvance);
  }
  return flush();
}

bool Display::strip(const char* label, const char* status) {
  const Guard lock(K_MSEC(50));
  if (!lock.held || !ready_ || sleeping_ || label == nullptr ||
      status == nullptr) {
    return false;
  }
  const size_t labelLength = std::strlen(label);
  /* Reject oversized caller text instead of silently clipping a call
   * or hiding its safety status. */
  if (labelLength > 11 || std::strlen(status) > 10) {
    return false;
  }
  clearFrame();
  if (labelLength == 11) {
    /* SHADE RIGHT needs eleven unchanged 2x glyphs. Keep the glyphs and
     * reduce only the blank inter-character advance from 12 to 11 px. */
    uint16_t x = 0;
    for (const char* p = label; *p != '\0'; ++p) {
      drawGlyph(x, kLayoutOffset, *p, 2);
      x += kLabelAdvance11;
    }
  } else {
    drawText(0, kLayoutOffset, label, 2, kLabelAdvance);
  }
  drawText(0, kLayoutOffset + 16, status, 1, kGlyphAdvance);
  return flush();
}

} // namespace board

#endif /* CONFIG_PITCHCOMM_DISPLAY */
```

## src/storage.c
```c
/*
 * PitchComm clip storage.
 *
 * LittleFS is mounted on the unused MCUboot secondary slot
 * (FIXED_PARTITION_ID(slot1_partition), 712 KB on the XIAO nRF54L15), which is
 * the only large, writable region this application owns.  The file system is
 * populated out of band (USB mass-storage image / tools), not by this
 * firmware.
 *
 * Catalog paths look like "/audio/p01.wav".  Two on-disk formats are
 * accepted:
 *
 *   - RIFF/WAVE, PCM, mono, 16 kHz, 16 bit, data chunk <= 5 s. Unknown chunks are
 *     skipped, fmt must be PCM 1/1/16000/32000/2/16, data even and short
 *     enough.
 *   - "ULW1" + uint32 little-endian sample count + G.711 mu-law bytes at
 *     8 kHz (the compact deployment format).
 *
 * Clips are streamed: pc_clip_open() parses the header and keeps only a
 * fixed-size state; pc_clip_read() pulls small chunks straight into the
 * caller's buffer (mu-law is decoded one 256-byte chunk at a time).  Memory
 * use is independent of clip length.
 *
 * Thread notes: pc_storage_mount() is called once from the boot thread;
 * pc_clip_* are called from the audio playback thread only.  A handle must
 * not be shared between threads.
 */
#include <errno.h>
#include <stdbool.h>
#include <stddef.h>
#include <stdint.h>
#include <string.h>

#include <zephyr/fs/fs.h>
#include <zephyr/fs/littlefs.h>
#include <zephyr/kernel.h>
#include <zephyr/logging/log.h>
#include <zephyr/storage/flash_map.h>
#include <zephyr/sys/byteorder.h>
#include <zephyr/sys/util.h>

#include <app/storage.h>

LOG_MODULE_REGISTER(pc_storage, LOG_LEVEL_INF);

#define PC_STORAGE_MNT   "/audio"
#define PC_MANIFEST      "/audio/manifest.txt"
#define PC_PATH_MAX      48
#define PC_MANIFEST_MAX  32

/* At most 5 s of 16 kHz mono PCM16. */
#define PC_WAV_MAX_DATA      (32000u * 5u)
#define PC_ULW_MAX_SAMPLES   (32000u * 5u)

/* Mu-law bytes decoded per fs_read() during pc_clip_read(). */
#define PC_ULAW_CHUNK        256U

static const char pc_ulw_magic[4] = { 'U', 'L', 'W', '1' };

FS_LITTLEFS_DECLARE_DEFAULT_CONFIG(pc_lfs_cfg);

static struct fs_mount_t pc_lfs_mount = {
	.type = FS_LITTLEFS,
	.fs_data = &pc_lfs_cfg,
	/* VERIFY: NCS v3.4.0 struct fs_mount_t takes the flash area id through
	 * the void *storage_dev field; there is no fa_id field on fs_littlefs.
	 * The documented pattern is the cast below.
	 */
	.storage_dev = (void *)FIXED_PARTITION_ID(slot1_partition),
	.mnt_point = PC_STORAGE_MNT,
};

static bool mounted;
static bool manifest_ok;
static uint32_t dictionary;
static int16_t mulaw_table[256];

enum pc_clip_format {
	PC_CLIP_WAV = 1,
	PC_CLIP_ULW = 2,
};

/* One open clip.  Fixed size: never scaled by the clip length. */
struct pc_clip {
	struct fs_file_t file;
	uint32_t rate;
	uint32_t remaining;   /* frames left to read */
	uint8_t format;
	uint8_t ulaw[PC_ULAW_CHUNK];
};

/* ------------------------------------------------------------------------- */
/* Mount / manifest                                                          */
/* ------------------------------------------------------------------------- */

static void pc_build_mulaw_table(void)
{
	for (unsigned i = 0; i < 256; i++) {
		const uint8_t u = (uint8_t)~i;
		int32_t t = ((u & 0x0FU) << 3) + 0x84;

		t <<= (u & 0x70U) >> 4;
		mulaw_table[i] = (u & 0x80U) ? (int16_t)(0x84 - t) : (int16_t)(t - 0x84);
	}
}

static bool pc_parse_dictionary(const char *text, uint32_t *out)
{
	uint32_t value = 0;
	unsigned digits = 0;

	while (*text == ' ' || *text == '\t' || *text == '\r' || *text == '\n') {
		text++;
	}

	while (digits < 8) {
		const char c = *text++;
		int nibble;

		if (c >= '0' && c <= '9') {
			nibble = c - '0';
		} else if (c >= 'a' && c <= 'f') {
			nibble = c - 'a' + 10;
		} else if (c >= 'A' && c <= 'F') {
			nibble = c - 'A' + 10;
		} else {
			break;
		}

		value = (value << 4) | (uint32_t)nibble;
		digits++;
	}

	if (digits == 0) {
		return false;
	}

	*out = value;
	return true;
}

int pc_storage_mount(void)
{
	struct fs_file_t file;
	char buf[PC_MANIFEST_MAX];
	ssize_t n;
	int err;

	if (mounted) {
		return 0;
	}

	pc_build_mulaw_table();

	err = fs_mount(&pc_lfs_mount);
	if (err != 0) {
		LOG_ERR("LittleFS mount failed: %d", err);
		return err;
	}
	mounted = true;

	fs_file_t_init(&file);
	err = fs_open(&file, PC_MANIFEST, FS_O_READ);
	if (err == -ENOENT) {
		/* No audio set programmed: a normal state, not an error.  Leave
		 * the file system unmounted so nothing else touches it.
		 */
		LOG_INF("No %s; clip storage offline", PC_MANIFEST);
		(void)fs_unmount(&pc_lfs_mount);
		mounted = false;
		return 0;
	}
	if (err != 0) {
		LOG_ERR("manifest open failed: %d", err);
		(void)fs_unmount(&pc_lfs_mount);
		mounted = false;
		return err;
	}

	n = fs_read(&file, buf, sizeof(buf) - 1);
	(void)fs_close(&file);
	if (n <= 0) {
		LOG_WRN("manifest empty or unreadable (%d)", (int)n);
		(void)fs_unmount(&pc_lfs_mount);
		mounted = false;
		return (n < 0) ? (int)n : -EINVAL;
	}
	buf[n] = '\0';

	if (!pc_parse_dictionary(buf, &dictionary)) {
		LOG_WRN("manifest has no dictionary id");
		(void)fs_unmount(&pc_lfs_mount);
		mounted = false;
		return -EINVAL;
	}

	manifest_ok = true;
	LOG_INF("Clip storage ready: dictionary %08x, %zu bytes free",
		(unsigned int)dictionary, pc_storage_free());
	return 0;
}

bool pc_storage_ready(void)
{
	return mounted && manifest_ok;
}

uint32_t pc_storage_dictionary(void)
{
	return pc_storage_ready() ? dictionary : 0U;
}

size_t pc_storage_free(void)
{
	struct fs_statvfs statvfs;

	if (!mounted) {
		return 0U;
	}

	if (fs_statvfs(PC_STORAGE_MNT, &statvfs) != 0) {
		return 0U;
	}

	return (size_t)statvfs.f_bfree * (size_t)statvfs.f_bsize;
}

/* ------------------------------------------------------------------------- */
/* Path resolution                                                           */
/* ------------------------------------------------------------------------- */

/*
 * Replace the last path extension with ".ulw".  Returns false when there is
 * nothing to try (no room, or the path is already ".ulw").
 */
static bool pc_alt_ulw_path(const char *path, char *out, size_t out_size)
{
	const size_t len = strlen(path);
	const char *slash = strrchr(path, '/');
	const char *dot = strrchr(path, '.');
	size_t base;

	if (len == 0 || len >= out_size) {
		return false;
	}

	if (dot == NULL || (slash != NULL && dot < slash)) {
		/* No extension: append one. */
		if (len + 5 > out_size) {
			return false;
		}
		memcpy(out, path, len);
		memcpy(out + len, ".ulw", 4);
		out[len + 4] = '\0';
		return true;
	}

	if (strcmp(dot, ".ulw") == 0) {
		return false;
	}

	base = (size_t)(dot - path);
	if (base + 5 > out_size) {
		return false;
	}

	memcpy(out, path, base);
	memcpy(out + base, ".ulw", 4);
	out[base + 4] = '\0';
	return true;
}

/* ------------------------------------------------------------------------- */
/* Header probing                                                            */
/* ------------------------------------------------------------------------- */

static int pc_read_exact(struct fs_file_t *file, void *dst, size_t len)
{
	uint8_t *p = dst;
	size_t got = 0;

	while (got < len) {
		const ssize_t n = fs_read(file, p + got, len - got);

		if (n <= 0) {
			return (n < 0) ? (int)n : -EIO;
		}
		got += (size_t)n;
	}

	return 0;
}

/* WAV: RIFF/WAVE, fmt PCM 1/1/16000/32000/2/16, one even data chunk <= 5 s. */
static int pc_wav_probe(struct pc_clip *clip, const char *path)
{
	struct fs_dirent entry;
	uint8_t hdr[16];
	uint32_t file_size;
	uint32_t riff_end;
	uint32_t pos;
	uint32_t data_off = 0U;
	uint32_t data_len = 0U;
	bool have_fmt = false;
	bool have_data = false;
	int err;

	err = fs_stat(path, &entry);
	if (err != 0) {
		return err;
	}
	if (entry.size < 44U) {
		return -EINVAL;
	}
	file_size = (uint32_t)entry.size;

	err = fs_seek(&clip->file, 0, FS_SEEK_SET);
	if (err != 0) {
		return err;
	}
	err = pc_read_exact(&clip->file, hdr, 12U);
	if (err != 0) {
		return err;
	}
	if (memcmp(hdr, "RIFF", 4) != 0 || memcmp(hdr + 8, "WAVE", 4) != 0) {
		return -EINVAL;
	}
	riff_end = 8U + sys_get_le32(hdr + 4);
	if (riff_end > file_size || riff_end < 44U) {
		return -EINVAL;
	}

	pos = 12U;
	while (pos + 8U <= riff_end) {
		uint32_t len;
		uint32_t start;
		uint64_t next;

		err = fs_seek(&clip->file, (off_t)pos, FS_SEEK_SET);
		if (err != 0) {
			return err;
		}
		err = pc_read_exact(&clip->file, hdr, 8U);
		if (err != 0) {
			return err;
		}

		len = sys_get_le32(hdr + 4);
		start = pos + 8U;
		if ((uint64_t)start + len > riff_end) {
			return -EINVAL;
		}

		if (memcmp(hdr, "fmt ", 4) == 0) {
			if (have_fmt || len < 16U) {
				return -EINVAL;
			}
			err = pc_read_exact(&clip->file, hdr, 16U);
			if (err != 0) {
				return err;
			}
			if (sys_get_le16(hdr) != 1U ||          /* PCM */
			    sys_get_le16(hdr + 2) != 1U ||      /* mono */
			    sys_get_le32(hdr + 4) != 16000U ||  /* sample rate */
			    sys_get_le32(hdr + 8) != 32000U ||  /* byte rate */
			    sys_get_le16(hdr + 12) != 2U ||     /* block align */
			    sys_get_le16(hdr + 14) != 16U) {    /* bits */
				return -EINVAL;
			}
			have_fmt = true;
		} else if (memcmp(hdr, "data", 4) == 0) {
			if (have_data || len == 0U || (len & 1U) != 0U ||
			    len > PC_WAV_MAX_DATA) {
				return -EINVAL;
			}
			data_off = start;
			data_len = len;
			have_data = true;
		}

		next = (uint64_t)start + len + (len & 1U);
		if (next > riff_end) {
			return -EINVAL;
		}
		pos = (uint32_t)next;
	}

	/* Chunks must tile the RIFF area exactly. */
	if (!have_fmt || !have_data || pos != riff_end) {
		return -EINVAL;
	}

	/* Position the file at the first PCM sample. */
	err = fs_seek(&clip->file, (off_t)data_off, FS_SEEK_SET);
	if (err != 0) {
		return err;
	}

	clip->rate = 16000U;
	clip->remaining = data_len / 2U;
	clip->format = PC_CLIP_WAV;
	return 0;
}

/* Compact format: "ULW1" + uint32 count + G.711 mu-law bytes at 8 kHz. */
static int pc_ulw_probe(struct pc_clip *clip, const char *path)
{
	struct fs_dirent entry;
	uint8_t hdr[8];
	uint32_t count;
	int err;

	err = fs_stat(path, &entry);
	if (err != 0) {
		return err;
	}

	err = fs_seek(&clip->file, 0, FS_SEEK_SET);
	if (err != 0) {
		return err;
	}
	err = pc_read_exact(&clip->file, hdr, sizeof(hdr));
	if (err != 0) {
		return err;
	}
	if (memcmp(hdr, pc_ulw_magic, 4) != 0) {
		return -EINVAL;
	}

	count = sys_get_le32(hdr + 4);
	if (count == 0U || count > PC_ULW_MAX_SAMPLES) {
		return -EINVAL;
	}
	if ((uint64_t)entry.size < (uint64_t)count + sizeof(hdr)) {
		return -EINVAL; /* truncated file */
	}

	/* File position is already at the first mu-law byte. */
	clip->rate = 8000U;
	clip->remaining = count;
	clip->format = PC_CLIP_ULW;
	return 0;
}

static int pc_clip_probe(struct pc_clip *clip, const char *path)
{
	uint8_t magic[4];
	ssize_t n;
	int err;

	err = fs_seek(&clip->file, 0, FS_SEEK_SET);
	if (err != 0) {
		return err;
	}

	n = fs_read(&clip->file, magic, sizeof(magic));
	if (n != (ssize_t)sizeof(magic)) {
		return (n < 0) ? (int)n : -EINVAL;
	}

	if (memcmp(magic, pc_ulw_magic, 4) == 0) {
		return pc_ulw_probe(clip, path);
	}

	return pc_wav_probe(clip, path);
}

/* ------------------------------------------------------------------------- */
/* Streaming clip API                                                        */
/* ------------------------------------------------------------------------- */

static int pc_clip_open_file(const char *path, void **handle)
{
	struct pc_clip *clip;
	int err;

	clip = k_malloc(sizeof(*clip));
	if (clip == NULL) {
		return -ENOMEM;
	}
	memset(clip, 0, sizeof(*clip));

	fs_file_t_init(&clip->file);
	err = fs_open(&clip->file, path, FS_O_READ);
	if (err != 0) {
		k_free(clip);
		return err;
	}

	err = pc_clip_probe(clip, path);
	if (err != 0) {
		(void)fs_close(&clip->file);
		k_free(clip);
		return err;
	}

	*handle = clip;
	return 0;
}

int pc_clip_open(const char *path, void **handle)
{
	char alt[PC_PATH_MAX];
	int err;

	if (handle == NULL) {
		return -EINVAL;
	}
	*handle = NULL;

	if (!pc_storage_ready()) {
		return -ENODEV;
	}
	if (path == NULL || path[0] == '\0') {
		return -ENOENT;
	}

	err = pc_clip_open_file(path, handle);
	if (err == -ENOENT && pc_alt_ulw_path(path, alt, sizeof(alt))) {
		err = pc_clip_open_file(alt, handle);
	}

	return err;
}

uint32_t pc_clip_rate(void *handle)
{
	const struct pc_clip *clip = handle;

	return (clip != NULL) ? clip->rate : 0U;
}

static int pc_read_wav(struct pc_clip *clip, int16_t *dst, size_t frames)
{
	const size_t want_bytes = frames * sizeof(int16_t);
	size_t got_bytes = 0U;

	while (got_bytes < want_bytes) {
		const ssize_t n = fs_read(&clip->file, (uint8_t *)dst + got_bytes,
					  want_bytes - got_bytes);

		if (n < 0) {
			return (got_bytes > 0U) ? (int)(got_bytes / 2U) : (int)n;
		}
		if (n == 0) {
			break;
		}
		got_bytes += (size_t)n;
	}

	if ((got_bytes & 1U) != 0U) {
		return -EIO; /* truncated mid-sample */
	}

	return (int)(got_bytes / 2U);
}

static int pc_read_ulaw(struct pc_clip *clip, int16_t *dst, size_t frames)
{
	size_t done = 0U;

	while (done < frames) {
		const size_t want = MIN(frames - done, sizeof(clip->ulaw));
		const ssize_t n = fs_read(&clip->file, clip->ulaw, want);

		if (n < 0) {
			return (done > 0U) ? (int)done : (int)n;
		}
		if (n == 0) {
			/* Truncated despite the size check at open. */
			return (done > 0U) ? (int)done : -EIO;
		}

		for (ssize_t i = 0; i < n; i++) {
			dst[done + (size_t)i] = mulaw_table[clip->ulaw[i]];
		}
		done += (size_t)n;
	}

	return (int)done;
}

int pc_clip_read(void *handle, int16_t *dst, size_t frames)
{
	struct pc_clip *clip = handle;
	int got;

	if (clip == NULL || dst == NULL) {
		return -EINVAL;
	}
	if (frames == 0U || clip->remaining == 0U) {
		return 0;
	}
	if (frames > clip->remaining) {
		frames = clip->remaining;
	}

	if (clip->format == PC_CLIP_ULW) {
		got = pc_read_ulaw(clip, dst, frames);
	} else {
		got = pc_read_wav(clip, dst, frames);
	}

	if (got > 0) {
		clip->remaining -= (uint32_t)got;
	}

	return got;
}

void pc_clip_close(void *handle)
{
	struct pc_clip *clip = handle;

	if (clip == NULL) {
		return;
	}

	(void)fs_close(&clip->file);
	k_free(clip);
}
```
